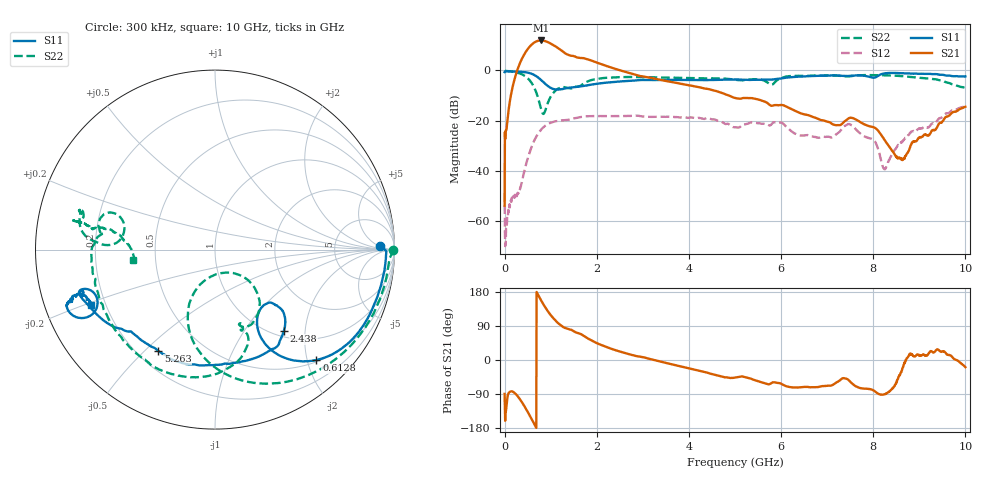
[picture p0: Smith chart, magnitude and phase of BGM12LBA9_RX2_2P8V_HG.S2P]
!Agilent Technologies,E5071C,MY46316587,B.13.01
!Date: Tue Sep 12 11:08:57 2017
!Data & Calibration Information:
!Freq	S11:SOLT2(ON)	S21:SOLT2(ON)	S12:SOLT2(ON)	S22:SOLT2(ON)
!PortZ  Port1:50+j0  Port2:50+j0
!Above PortZ is port z conversion or system Z0 setting when saving the data.
!When reading, reference impedance value at option line is always used.
# Hz S RI R 50
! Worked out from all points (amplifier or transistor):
!   1601 points, 300 kHz to 10 GHz, reference 50 ohm
!   highest |S21| = 11.9 dB at 787.8 MHz (marker M1)
!   |S21| within 3 dB of that: 520 MHz to 1.157 GHz (637.1 MHz wide, 76 % of centre)
!   unconditionally stable (mu >= 1): start of sweep to end of sweep
!   at 1.663 GHz: K = 1.65, MAG = 7.0 dB, |S12| = -18.6 dB
!   at 5 GHz: K = 8.30, MAG = -6.3 dB, |S12| = -22.7 dB
!   at 10 GHz: K = 4.52, MAG = -9.6 dB, |S12| = -14.3 dB
!   lowest NFmin = 0.68 dB at 950 MHz
!   S11 on the Smith chart (normalised r, x): 300 kHz: 22, +6; 612.8 MHz: 0.53, -2.17; 2.438 GHz: 1.11, -1.55; 5.263 GHz: 0.28, -0.55; 10 GHz: 0.15, -0.21
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300000  0.9196 0.0207  1.64e-05 -0.00202  0.00213 0.00296  0.994 0.00024
5.654831e7  0.9507 -0.0637  -0.0184 -0.0868  -0.000188 0.00122  0.9539 -0.1613
1.065468e8  0.9425 -0.1209  0.0199 -0.2167  -9.3e-05 0.00215  0.912 -0.2925
3.190404e8  0.866 -0.3535  -0.2524 -1.266  -0.00285 0.00305  0.5252 -0.6968
4.815356e8  0.7391 -0.5247  -1.687 -1.841  -0.0144 0.00505  0.105 -0.714
6.127816e8  0.5648 -0.6156  -3.232 -1.071  -0.0295 0.0175  -0.129 -0.4951
7.00279e8  0.4295 -0.6154  -3.801 0.1308  -0.0361 0.0348  -0.1434 -0.3025
7.877764e8  0.3175 -0.5629  -3.651 1.452  -0.0345 0.0554  -0.0496 -0.1667
9.00273e8  0.2436 -0.4605  -2.685 2.63  -0.0204 0.0783  0.116 -0.1346
1.019019e9  0.2383 -0.3679  -1.451 3.003  0.000863 0.0914  0.2258 -0.2229
1.256512e9  0.3025 -0.2959  0.0846 2.395  0.0371 0.0938  0.1941 -0.4222
1.669e9  0.3577 -0.3216  0.6723 1.626  0.0772 0.0896  0.1806 -0.4738
1.950242e9  0.3862 -0.3636  1.003 1.094  0.0998 0.0713  0.0845 -0.6537
2.437727e9  0.3835 -0.4532  0.948 0.4365  0.1144 0.0438  -0.1672 -0.7079
3.3377e9  0.2865 -0.5738  0.6573 -0.0353  0.1188 0.0046  -0.4776 -0.5407
5.00015e9  -0.2045 -0.6251  0.1939 -0.2032  0.0675 -0.0282  -0.6437 0.0784
5.262642e9  -0.3154 -0.564  0.1934 -0.2039  0.0829 -0.0237  -0.6414 0.1014
6.66885e9  -0.7013 -0.3151  0.0374 -0.1144  0.0424 -0.0236  -0.7539 0.2095
7.500075e9  -0.736 -0.2474  0.0614 -0.0954  0.0746 -0.0386  -0.7428 0.1656
8.33755e9  -0.813 -0.3458  0.00315 -0.031  0.0144 0.00707  -0.7741 0.1571
8.65004e9  -0.8196 -0.2943  0.0164 -0.0051  0.0287 0.0288  -0.7479 0.1508
1e10  -0.6895 -0.31  0.1781 -0.0612  0.189 -0.0387  -0.4542 -0.0563
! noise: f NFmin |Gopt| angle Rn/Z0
6.5e+08  0.7505  0.4246  30.81  0.245
7e+08  0.7327  0.3671  32.05  0.1941
7.5e+08  0.7161  0.4508  34.1  0.1868
8e+08  0.7034  0.4509  37.39  0.2423
8.5e+08  0.7005  0.4345  40.76  0.1691
9e+08  0.6786  0.449  42.74  0.1736
9.5e+08  0.6757  0.4362  44.14  0.1729
1e+09  0.6856  0.4349  45.46  0.1728
